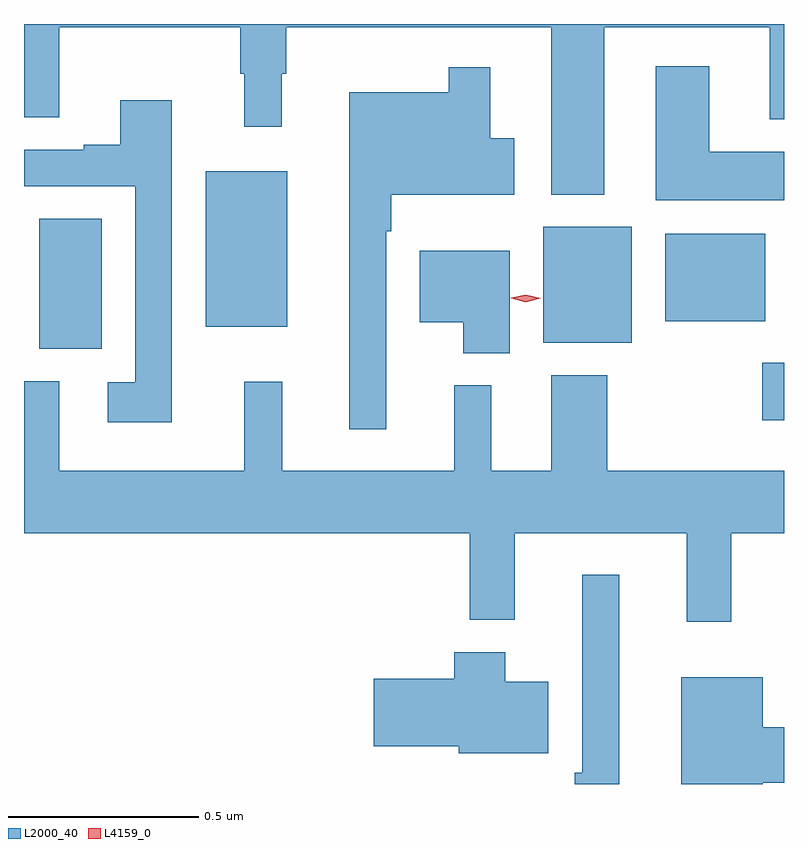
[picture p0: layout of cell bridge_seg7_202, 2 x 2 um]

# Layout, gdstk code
import gdstk
lib = gdstk.Library(unit=1e-6, precision=1e-09)
def R(c, l, rs):  # rectangles x0, y0, x1, y1
    for r in rs: c.add(gdstk.rectangle(r[:2], r[2:], *l))
def P(c, l, *ps):  # polygons
    for p in ps: c.add(gdstk.Polygon(p, *l))
L2000_40 = (2000, 40)
L4159_0 = (4159, 0)

bridge_seg7_202 = lib.new_cell('bridge_seg7_202')
R(bridge_seg7_202, L2000_40, [(421.233,1006.241,421.29,1006.393), (419.33,1006.429,419.494,1006.772), (420.656,1006.445,420.889,1006.75), (419.768,1006.487,419.983,1006.897), (420.977,1006.502,421.24,1006.732)])
P(bridge_seg7_202, L2000_40, [(419.29,1007.038),(419.383,1007.038),(419.383,1007.276),(419.859,1007.276),(419.859,1007.153),(419.87,1007.153),(419.87,1007.013),(419.968,1007.013),(419.968,1007.153),(419.98,1007.153),(419.98,1007.276),(420.677,1007.276),(420.677,1006.835),(420.817,1006.835),(420.817,1007.276),(421.253,1007.276),(421.253,1007.033),(421.29,1007.033),(421.29,1007.284),(419.29,1007.284)],
  [(421.29,1006.948),(421.093,1006.948),(421.093,1007.173),(420.953,1007.173),(420.953,1006.82),(421.29,1006.82)],
  [(420.243,1006.739),(420.256,1006.739),(420.256,1006.835),(420.58,1006.835),(420.58,1006.983),(420.517,1006.983),(420.517,1007.17),(420.408,1007.17),(420.408,1007.104),(420.146,1007.104),(420.146,1006.218),(420.243,1006.218)],
  [(419.679,1007.083),(419.543,1007.083),(419.543,1006.966),(419.447,1006.966),(419.447,1006.953),(419.29,1006.953),(419.29,1006.857),(419.583,1006.857),(419.583,1006.341),(419.511,1006.341),(419.511,1006.236),(419.679,1006.236)],
  [(420.568,1006.687),(420.332,1006.687),(420.332,1006.499),(420.446,1006.499),(420.446,1006.418),(420.568,1006.418)],
  [(421.151,1005.944),(421.29,1005.944),(421.29,1006.108),(420.825,1006.108),(420.825,1006.36),(420.677,1006.36),(420.677,1006.108),(420.52,1006.108),(420.52,1006.333),(420.422,1006.333),(420.422,1006.108),(419.969,1006.108),(419.969,1006.342),(419.87,1006.342),(419.87,1006.108),(419.383,1006.108),(419.383,1006.344),(419.29,1006.344),(419.29,1005.944),(420.463,1005.944),(420.463,1005.716),(420.581,1005.716),(420.581,1005.944),(421.034,1005.944),(421.034,1005.711),(421.151,1005.711)],
  [(420.856,1005.835),(420.759,1005.835),(420.759,1005.313),(420.739,1005.313),(420.739,1005.284),(420.856,1005.284)],
  [(420.67,1005.553),(420.556,1005.553),(420.556,1005.631),(420.422,1005.631),(420.422,1005.561),(420.21,1005.561),(420.21,1005.383),(420.434,1005.383),(420.434,1005.365),(420.67,1005.365)],
  [(421.234,1005.287),(421.29,1005.287),(421.29,1005.434),(421.234,1005.434),(421.234,1005.565),(421.019,1005.565),(421.019,1005.284),(421.234,1005.284)])
P(bridge_seg7_202, L4159_0, [(420.611,1006.552),(420.572,1006.562),(420.572,1006.563),(420.572,1006.563),(420.611,1006.572),(420.65,1006.562),(420.65,1006.562),(420.65,1006.562)])

lib.write_gds('bridge_seg7_202.gds')
